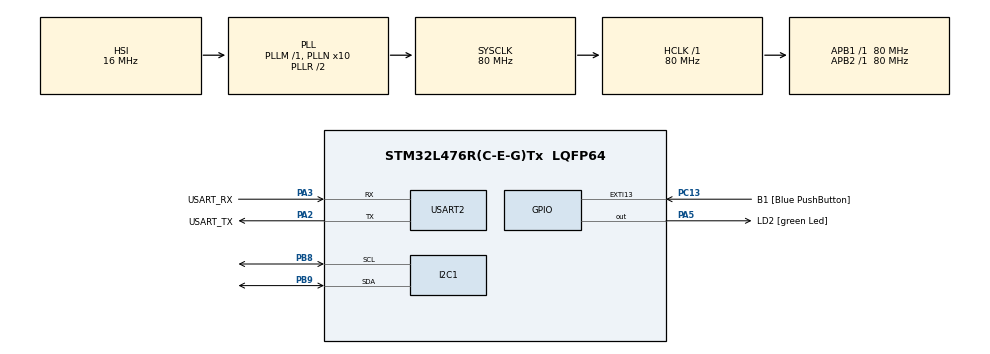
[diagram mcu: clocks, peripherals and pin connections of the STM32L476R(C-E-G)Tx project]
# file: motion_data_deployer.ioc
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I2C1.Timing=0x10D19CE4
Mcu.Family=STM32L4
Mcu.Name=STM32L476R(C-E-G)Tx
Mcu.Package=LQFP64
NVIC.PriorityGroup=NVIC_PRIORITYGROUP_4
PA13\ (JTMS-SWDIO).GPIO_Label=TMS
PA13\ (JTMS-SWDIO).Mode=Serial_Wire
PA13\ (JTMS-SWDIO).Signal=SYS_JTMS-SWDIO
PA14\ (JTCK-SWCLK).GPIO_Label=TCK
PA14\ (JTCK-SWCLK).Mode=Serial_Wire
PA14\ (JTCK-SWCLK).Signal=SYS_JTCK-SWCLK
PA2.GPIO_Label=USART_TX
PA2.GPIO_Mode=GPIO_MODE_AF_PP
PA2.GPIO_PuPd=GPIO_NOPULL
PA2.GPIO_Speed=GPIO_SPEED_FREQ_VERY_HIGH
PA2.Mode=Asynchronous
PA2.Signal=USART2_TX
PA3.GPIO_Label=USART_RX
PA3.GPIO_Mode=GPIO_MODE_AF_PP
PA3.GPIO_PuPd=GPIO_NOPULL
PA3.GPIO_Speed=GPIO_SPEED_FREQ_VERY_HIGH
PA3.Mode=Asynchronous
PA3.Signal=USART2_RX
PA5.GPIO_Label=LD2 [green Led]
PA5.GPIO_ModeDefaultOutputPP=GPIO_MODE_OUTPUT_PP
PA5.GPIO_PuPd=GPIO_NOPULL
PA5.GPIO_Speed=GPIO_SPEED_FREQ_LOW
PA5.Signal=GPIO_Output
PB3\ (JTDO-TRACESWO).GPIO_Label=SWO
PB3\ (JTDO-TRACESWO).Signal=SYS_JTDO-SWO
PB8.Mode=I2C
PB8.Signal=I2C1_SCL
PB9.Mode=I2C
PB9.Signal=I2C1_SDA
PC13.GPIO_Label=B1 [Blue PushButton]
PC13.GPIO_ModeDefaultEXTI=GPIO_MODE_IT_FALLING
PC13.GPIO_PuPd=GPIO_NOPULL
PC13.Signal=GPXTI13
PC14-OSC32_IN\ (PC14).Mode=LSE-External-Oscillator
PC14-OSC32_IN\ (PC14).Signal=RCC_OSC32_IN
PC15-OSC32_OUT\ (PC15).Mode=LSE-External-Oscillator
PC15-OSC32_OUT\ (PC15).Signal=RCC_OSC32_OUT
PH0-OSC_IN\ (PH0).Signal=RCC_OSC_IN
PH1-OSC_OUT\ (PH1).Signal=RCC_OSC_OUT
ProjectManager.HeapSize=0x200
ProjectManager.StackSize=0x400
ProjectManager.TargetToolchain=STM32CubeIDE
RCC.ADCFreq_Value=64000000
RCC.AHBFreq_Value=80000000
RCC.APB1Freq_Value=80000000
RCC.APB1TimFreq_Value=80000000
RCC.APB2Freq_Value=80000000
RCC.APB2TimFreq_Value=80000000
RCC.CortexFreq_Value=80000000
RCC.HCLKFreq_Value=80000000
RCC.HSE_VALUE=8000000
RCC.HSI_VALUE=16000000
RCC.MSI_VALUE=4000000
RCC.PLLN=10
RCC.PLLSourceVirtual=RCC_PLLSOURCE_HSI
RCC.PREFETCH_ENABLE=1
RCC.SYSCLKFreq_VALUE=80000000
RCC.SYSCLKSource=RCC_SYSCLKSOURCE_PLLCLK
RCC.USBFreq_Value=64000000
RCC.VCOOutputFreq_Value=160000000
USART2.VirtualMode-Asynchronous=VM_ASYNC
board=NUCLEO-L476RG

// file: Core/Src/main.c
/* USER CODE BEGIN Header */
/**
  ******************************************************************************
  * @file           : main.c
  * @brief          : Main program body
  ******************************************************************************
  * @attention
  *
  * Copyright (c) 2024 STMicroelectronics.
  * All rights reserved.
  *
  * This software is licensed under terms that can be found in the LICENSE file
  * in the root directory of this software component.
  * If no LICENSE file comes with this software, it is provided AS-IS.
  *
  ******************************************************************************
  */
/* USER CODE END Header */
#include "main.h"

/* USER CODE BEGIN Includes */
#include "mpu.h"
#include "stdio.h"
#include "string.h"
#include "NanoEdgeAI.h"
/* USER CODE END Includes */

/* USER CODE BEGIN PD */
#define DATA_INPUT_USER 256
#define AXIS_NUMBER 3
#define NUMBER_LEARN 50
/* USER CODE END PD */

I2C_HandleTypeDef hi2c1;

UART_HandleTypeDef huart2;

/* USER CODE BEGIN PV */
float mpu_buffer[DATA_INPUT_USER * AXIS_NUMBER] = { 0 };
uint8_t similarity = 0;
/* USER CODE END PV */

void SystemClock_Config(void);
static void MX_GPIO_Init(void);
static void MX_USART2_UART_Init(void);
static void MX_I2C1_Init(void);
/* USER CODE BEGIN PFP */
void fill_mpu_buffer();
void Train(void);
void Inference(void);

/* USER CODE END PFP */

int main(void)
{

  /* MCU Configuration--------------------------------------------------------*/

  /* Reset of all peripherals, Initializes the Flash interface and the Systick. */
  HAL_Init();

  /* Configure the system clock */
  SystemClock_Config();

  /* Initialize all configured peripherals */
  MX_GPIO_Init();
  MX_USART2_UART_Init();
  MX_I2C1_Init();
  /* USER CODE BEGIN 2 */
  MPU6050_Init();

    enum neai_state error_code = neai_anomalydetection_init();
        if (error_code != NEAI_OK) {
          printf("Application Init Not Done!!!");
        }
        else
          printf("Application Init Done!!!");

    HAL_Delay (1000);  // wait for 1 sec
    Train();
  /* USER CODE END 2 */

  /* Infinite loop */
  /* USER CODE BEGIN WHILE */
  while (1)
  {
	  Inference();
    /* USER CODE END WHILE */

  }
}

void SystemClock_Config(void)
{
  RCC_OscInitTypeDef RCC_OscInitStruct = {0};
  RCC_ClkInitTypeDef RCC_ClkInitStruct = {0};

  /** Configure the main internal regulator output voltage
  */
  if (HAL_PWREx_ControlVoltageScaling(PWR_REGULATOR_VOLTAGE_SCALE1) != HAL_OK)
  {
    Error_Handler();
  }

  /** Initializes the RCC Oscillators according to the specified parameters
  * in the RCC_OscInitTypeDef structure.
  */
  RCC_OscInitStruct.OscillatorType = RCC_OSCILLATORTYPE_HSI;
  RCC_OscInitStruct.HSIState = RCC_HSI_ON;
  RCC_OscInitStruct.HSICalibrationValue = RCC_HSICALIBRATION_DEFAULT;
  RCC_OscInitStruct.PLL.PLLState = RCC_PLL_ON;
  RCC_OscInitStruct.PLL.PLLSource = RCC_PLLSOURCE_HSI;
  RCC_OscInitStruct.PLL.PLLM = 1;
  RCC_OscInitStruct.PLL.PLLN = 10;
  RCC_OscInitStruct.PLL.PLLP = RCC_PLLP_DIV7;
  RCC_OscInitStruct.PLL.PLLQ = RCC_PLLQ_DIV2;
  RCC_OscInitStruct.PLL.PLLR = RCC_PLLR_DIV2;
  if (HAL_RCC_OscConfig(&RCC_OscInitStruct) != HAL_OK)
  {
    Error_Handler();
  }

  /** Initializes the CPU, AHB and APB buses clocks
  */
  RCC_ClkInitStruct.ClockType = RCC_CLOCKTYPE_HCLK|RCC_CLOCKTYPE_SYSCLK
                              |RCC_CLOCKTYPE_PCLK1|RCC_CLOCKTYPE_PCLK2;
  RCC_ClkInitStruct.SYSCLKSource = RCC_SYSCLKSOURCE_PLLCLK;
  RCC_ClkInitStruct.AHBCLKDivider = RCC_SYSCLK_DIV1;
  RCC_ClkInitStruct.APB1CLKDivider = RCC_HCLK_DIV1;
  RCC_ClkInitStruct.APB2CLKDivider = RCC_HCLK_DIV1;

  if (HAL_RCC_ClockConfig(&RCC_ClkInitStruct, FLASH_LATENCY_4) != HAL_OK)
  {
    Error_Handler();
  }
}

static void MX_I2C1_Init(void)
{

  hi2c1.Instance = I2C1;
  hi2c1.Init.Timing = 0x10D19CE4;
  hi2c1.Init.OwnAddress1 = 0;
  hi2c1.Init.AddressingMode = I2C_ADDRESSINGMODE_7BIT;
  hi2c1.Init.DualAddressMode = I2C_DUALADDRESS_DISABLE;
  hi2c1.Init.OwnAddress2 = 0;
  hi2c1.Init.OwnAddress2Masks = I2C_OA2_NOMASK;
  hi2c1.Init.GeneralCallMode = I2C_GENERALCALL_DISABLE;
  hi2c1.Init.NoStretchMode = I2C_NOSTRETCH_DISABLE;
  if (HAL_I2C_Init(&hi2c1) != HAL_OK)
  {
    Error_Handler();
  }

  /** Configure Analogue filter
  */
  if (HAL_I2CEx_ConfigAnalogFilter(&hi2c1, I2C_ANALOGFILTER_ENABLE) != HAL_OK)
  {
    Error_Handler();
  }

  /** Configure Digital filter
  */
  if (HAL_I2CEx_ConfigDigitalFilter(&hi2c1, 0) != HAL_OK)
  {
    Error_Handler();
  }

}

static void MX_USART2_UART_Init(void)
{

  huart2.Instance = USART2;
  huart2.Init.BaudRate = 115200;
  huart2.Init.WordLength = UART_WORDLENGTH_8B;
  huart2.Init.StopBits = UART_STOPBITS_1;
  huart2.Init.Parity = UART_PARITY_NONE;
  huart2.Init.Mode = UART_MODE_TX_RX;
  huart2.Init.HwFlowCtl = UART_HWCONTROL_NONE;
  huart2.Init.OverSampling = UART_OVERSAMPLING_16;
  huart2.Init.OneBitSampling = UART_ONE_BIT_SAMPLE_DISABLE;
  huart2.AdvancedInit.AdvFeatureInit = UART_ADVFEATURE_NO_INIT;
  if (HAL_UART_Init(&huart2) != HAL_OK)
  {
    Error_Handler();
  }

}

static void MX_GPIO_Init(void)
{
  GPIO_InitTypeDef GPIO_InitStruct = {0};

  /* GPIO Ports Clock Enable */
  __HAL_RCC_GPIOC_CLK_ENABLE();
  __HAL_RCC_GPIOH_CLK_ENABLE();
  __HAL_RCC_GPIOA_CLK_ENABLE();
  __HAL_RCC_GPIOB_CLK_ENABLE();

  /*Configure GPIO pin Output Level */
  HAL_GPIO_WritePin(LD2_GPIO_Port, LD2_Pin, GPIO_PIN_RESET);

  /*Configure GPIO pin : B1_Pin */
  GPIO_InitStruct.Pin = B1_Pin;
  GPIO_InitStruct.Mode = GPIO_MODE_IT_FALLING;
  GPIO_InitStruct.Pull = GPIO_NOPULL;
  HAL_GPIO_Init(B1_GPIO_Port, &GPIO_InitStruct);

  /*Configure GPIO pin : LD2_Pin */
  GPIO_InitStruct.Pin = LD2_Pin;
  GPIO_InitStruct.Mode = GPIO_MODE_OUTPUT_PP;
  GPIO_InitStruct.Pull = GPIO_NOPULL;
  GPIO_InitStruct.Speed = GPIO_SPEED_FREQ_LOW;
  HAL_GPIO_Init(LD2_GPIO_Port, &GPIO_InitStruct);

}

/* USER CODE BEGIN 4 */
void fill_mpu_buffer() {
    for (int i = 0; i < DATA_INPUT_USER; i++) {
      MPU6050_Read_Accel(accel_data);
      mpu_buffer[AXIS_NUMBER * i] = Ax;
      mpu_buffer[AXIS_NUMBER * i + 1] = Ay;
      mpu_buffer[AXIS_NUMBER * i + 2] = Az;
  }
}

void Train(void)

{
   for (int i = 0; i < NUMBER_LEARN; i++) {
   fill_mpu_buffer();
   neai_anomalydetection_learn(mpu_buffer);
   printf("Training Cycle No: ");
   printf("%d",i);
   printf("\r\n");
   HAL_Delay(200);
  }
   printf("Training Done");

}

void Inference(void)
{
  fill_mpu_buffer();
  neai_anomalydetection_detect(mpu_buffer, &similarity);
  printf("Similarity Score is: ");
  printf("%d",similarity);
  printf("\r\n");
}

int __io_putchar(int ch){
	HAL_UART_Transmit(&huart2, (uint8_t *) &ch, 1, HAL_MAX_DELAY);
	return ch;
}
/* USER CODE END 4 */

void Error_Handler(void)
{
  __disable_irq();
  while (1)
  {
  }
}
